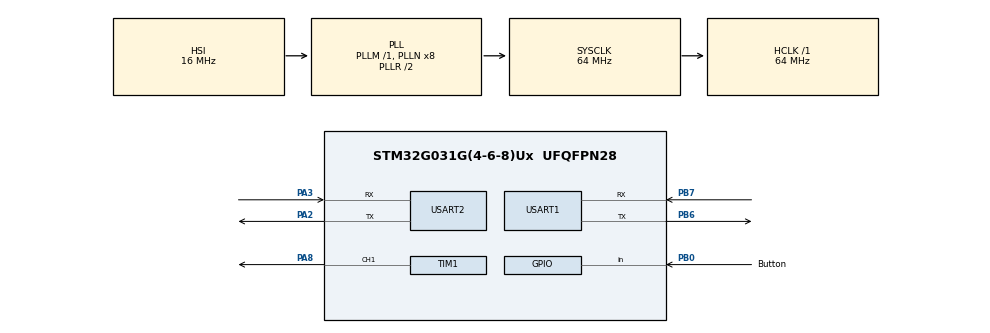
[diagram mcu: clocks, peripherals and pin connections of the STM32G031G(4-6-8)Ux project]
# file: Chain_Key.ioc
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Dma.Request0=USART1_RX
Dma.Request1=USART1_TX
Dma.Request2=USART2_RX
Dma.Request3=USART2_TX
Dma.Request4=TIM1_CH1
Dma.TIM1_CH1.4.Direction=DMA_MEMORY_TO_PERIPH
Dma.TIM1_CH1.4.EventEnable=DISABLE
Dma.TIM1_CH1.4.Instance=DMA1_Channel5
Dma.TIM1_CH1.4.MemDataAlignment=DMA_MDATAALIGN_BYTE
Dma.TIM1_CH1.4.MemInc=DMA_MINC_ENABLE
Dma.TIM1_CH1.4.Mode=DMA_NORMAL
Dma.TIM1_CH1.4.PeriphDataAlignment=DMA_PDATAALIGN_HALFWORD
Dma.TIM1_CH1.4.PeriphInc=DMA_PINC_DISABLE
Dma.TIM1_CH1.4.Polarity=HAL_DMAMUX_REQ_GEN_RISING
Dma.TIM1_CH1.4.Priority=DMA_PRIORITY_LOW
Dma.TIM1_CH1.4.RequestNumber=1
Dma.TIM1_CH1.4.SignalID=NONE
Dma.TIM1_CH1.4.SyncEnable=DISABLE
Dma.TIM1_CH1.4.SyncPolarity=HAL_DMAMUX_SYNC_NO_EVENT
Dma.TIM1_CH1.4.SyncRequestNumber=1
Dma.TIM1_CH1.4.SyncSignalID=NONE
Dma.USART1_RX.0.Direction=DMA_PERIPH_TO_MEMORY
Dma.USART1_RX.0.EventEnable=DISABLE
Dma.USART1_RX.0.Instance=DMA1_Channel1
Dma.USART1_RX.0.MemDataAlignment=DMA_MDATAALIGN_BYTE
Dma.USART1_RX.0.MemInc=DMA_MINC_ENABLE
Dma.USART1_RX.0.Mode=DMA_NORMAL
Dma.USART1_RX.0.PeriphDataAlignment=DMA_PDATAALIGN_BYTE
Dma.USART1_RX.0.PeriphInc=DMA_PINC_DISABLE
Dma.USART1_RX.0.Polarity=HAL_DMAMUX_REQ_GEN_RISING
Dma.USART1_RX.0.Priority=DMA_PRIORITY_LOW
Dma.USART1_RX.0.RequestNumber=1
Dma.USART1_RX.0.SignalID=NONE
Dma.USART1_RX.0.SyncEnable=DISABLE
Dma.USART1_RX.0.SyncPolarity=HAL_DMAMUX_SYNC_NO_EVENT
Dma.USART1_RX.0.SyncRequestNumber=1
Dma.USART1_RX.0.SyncSignalID=NONE
Dma.USART1_TX.1.Direction=DMA_MEMORY_TO_PERIPH
Dma.USART1_TX.1.EventEnable=DISABLE
Dma.USART1_TX.1.Instance=DMA1_Channel2
Dma.USART1_TX.1.MemDataAlignment=DMA_MDATAALIGN_BYTE
Dma.USART1_TX.1.MemInc=DMA_MINC_ENABLE
Dma.USART1_TX.1.Mode=DMA_NORMAL
Dma.USART1_TX.1.PeriphDataAlignment=DMA_PDATAALIGN_BYTE
Dma.USART1_TX.1.PeriphInc=DMA_PINC_DISABLE
Dma.USART1_TX.1.Polarity=HAL_DMAMUX_REQ_GEN_RISING
Dma.USART1_TX.1.Priority=DMA_PRIORITY_LOW
Dma.USART1_TX.1.RequestNumber=1
Dma.USART1_TX.1.SignalID=NONE
Dma.USART1_TX.1.SyncEnable=DISABLE
Dma.USART1_TX.1.SyncPolarity=HAL_DMAMUX_SYNC_NO_EVENT
Dma.USART1_TX.1.SyncRequestNumber=1
Dma.USART1_TX.1.SyncSignalID=NONE
Dma.USART2_RX.2.Direction=DMA_PERIPH_TO_MEMORY
Dma.USART2_RX.2.EventEnable=DISABLE
Dma.USART2_RX.2.Instance=DMA1_Channel3
Dma.USART2_RX.2.MemDataAlignment=DMA_MDATAALIGN_BYTE
Dma.USART2_RX.2.MemInc=DMA_MINC_ENABLE
Dma.USART2_RX.2.Mode=DMA_NORMAL
Dma.USART2_RX.2.PeriphDataAlignment=DMA_PDATAALIGN_BYTE
Dma.USART2_RX.2.PeriphInc=DMA_PINC_DISABLE
Dma.USART2_RX.2.Polarity=HAL_DMAMUX_REQ_GEN_RISING
Dma.USART2_RX.2.Priority=DMA_PRIORITY_LOW
Dma.USART2_RX.2.RequestNumber=1
Dma.USART2_RX.2.SignalID=NONE
Dma.USART2_RX.2.SyncEnable=DISABLE
Dma.USART2_RX.2.SyncPolarity=HAL_DMAMUX_SYNC_NO_EVENT
Dma.USART2_RX.2.SyncRequestNumber=1
Dma.USART2_RX.2.SyncSignalID=NONE
Dma.USART2_TX.3.Direction=DMA_MEMORY_TO_PERIPH
Dma.USART2_TX.3.EventEnable=DISABLE
Dma.USART2_TX.3.Instance=DMA1_Channel4
Dma.USART2_TX.3.MemDataAlignment=DMA_MDATAALIGN_BYTE
Dma.USART2_TX.3.MemInc=DMA_MINC_ENABLE
Dma.USART2_TX.3.Mode=DMA_NORMAL
Dma.USART2_TX.3.PeriphDataAlignment=DMA_PDATAALIGN_BYTE
Dma.USART2_TX.3.PeriphInc=DMA_PINC_DISABLE
Dma.USART2_TX.3.Polarity=HAL_DMAMUX_REQ_GEN_RISING
Dma.USART2_TX.3.Priority=DMA_PRIORITY_LOW
Dma.USART2_TX.3.RequestNumber=1
Dma.USART2_TX.3.SignalID=NONE
Dma.USART2_TX.3.SyncEnable=DISABLE
Dma.USART2_TX.3.SyncPolarity=HAL_DMAMUX_SYNC_NO_EVENT
Dma.USART2_TX.3.SyncRequestNumber=1
Dma.USART2_TX.3.SyncSignalID=NONE
IWDG.Prescaler=IWDG_PRESCALER_16
Mcu.Family=STM32G0
Mcu.Name=STM32G031G(4-6-8)Ux
Mcu.Package=UFQFPN28
NVIC.DMA1_Ch4_5_DMAMUX1_OVR_IRQn=true\:1\:0\:true\:false\:true\:false\:true\:true
NVIC.DMA1_Channel1_IRQn=true\:1\:0\:true\:false\:true\:false\:true\:true
NVIC.DMA1_Channel2_3_IRQn=true\:1\:0\:true\:false\:true\:false\:true\:true
NVIC.FLASH_IRQn=true\:1\:0\:true\:false\:true\:true\:true\:true
NVIC.TIM14_IRQn=true\:1\:0\:true\:false\:true\:true\:true\:true
NVIC.TIM16_IRQn=true\:1\:0\:true\:false\:true\:true\:true\:true
NVIC.TIM17_IRQn=true\:1\:0\:true\:false\:true\:true\:true\:true
NVIC.USART1_IRQn=true\:0\:0\:false\:false\:true\:false\:true\:true
NVIC.USART2_IRQn=true\:0\:0\:false\:false\:true\:false\:true\:true
PA2.GPIO_PuPd=GPIO_PULLUP
PA2.GPIO_Speed=GPIO_SPEED_FREQ_HIGH
PA2.Mode=Asynchronous
PA2.PinState=GPIO_PIN_RESET
PA2.Signal=USART2_TX
PA3.GPIO_PuPd=GPIO_PULLUP
PA3.GPIO_Speed=GPIO_SPEED_FREQ_HIGH
PA3.Mode=Asynchronous
PA3.PinState=GPIO_PIN_RESET
PA3.Signal=USART2_RX
PA8.Signal=S_TIM1_CH1
PB0.GPIO_Label=Button
PB0.GPIO_PuPd=GPIO_PULLUP
PB0.Signal=GPIO_Input
PB6.GPIO_PuPd=GPIO_PULLUP
PB6.GPIO_Speed=GPIO_SPEED_FREQ_HIGH
PB6.Mode=Asynchronous
PB6.Signal=USART1_TX
PB7.GPIO_PuPd=GPIO_PULLUP
PB7.GPIO_Speed=GPIO_SPEED_FREQ_HIGH
PB7.Mode=Asynchronous
PB7.Signal=USART1_RX
ProjectManager.HeapSize=0x200
ProjectManager.StackSize=0x400
ProjectManager.TargetToolchain=STM32CubeIDE
RCC.ADCFreq_Value=64000000
RCC.AHBFreq_Value=64000000
RCC.CortexFreq_Value=64000000
RCC.EXTERNAL_CLOCK_VALUE=12288000
RCC.HCLKFreq_Value=64000000
RCC.HSE_VALUE=8000000
RCC.HSI_VALUE=16000000
RCC.LSE_VALUE=32768
RCC.PLLQ=RCC_PLLQ_DIV4
RCC.SYSCLKFreq_VALUE=64000000
RCC.SYSCLKSource=RCC_SYSCLKSOURCE_PLLCLK
RCC.VCOOutputFreq_Value=128000000
SH.S_TIM1_CH1.0=TIM1_CH1,PWM Generation1 CH1
TIM1.Channel-PWM\ Generation1\ CH1=TIM_CHANNEL_1
TIM1.Period=79
TIM14.AutoReloadPreload=TIM_AUTORELOAD_PRELOAD_ENABLE
TIM14.Period=1699
TIM14.Prescaler=6399
TIM16.Period=29999
TIM16.Prescaler=6399
TIM17.Period=9999
TIM17.Prescaler=6399
USART1.VirtualMode-Asynchronous=VM_ASYNC
USART2.VirtualMode-Asynchronous=VM_ASYNC
VP_IWDG_VS_IWDG.Mode=IWDG_Activate
VP_TIM14_VS_ClockSourceINT.Mode=Enable_Timer
VP_TIM16_VS_ClockSourceINT.Mode=Enable_Timer
VP_TIM17_VS_ClockSourceINT.Mode=Enable_Timer
VP_TIM1_VS_ClockSourceINT.Mode=Internal
board=custom

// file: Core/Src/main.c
/* USER CODE BEGIN Header */
/**
 ******************************************************************************
 * @file           : main.c
 * @brief          : Main program body
 ******************************************************************************
 * @attention
 *
 * Copyright (c) 2024 STMicroelectronics.
 * All rights reserved.
 *
 * This software is licensed under terms that can be found in the LICENSE file
 * in the root directory of this software component.
 * If no LICENSE file comes with this software, it is provided AS-IS.
 *
 ******************************************************************************
 */
/* USER CODE END Header */
#include "main.h"
#include "dma.h"
#include "iwdg.h"
#include "tim.h"
#include "usart.h"
#include "gpio.h"

/* USER CODE BEGIN Includes */
#include "base_function.h"
#include "key_function.h"
#include "RGB.h"
#include "myflash.h"
#include "user_button.h"
/* USER CODE END Includes */

/* USER CODE BEGIN PV */
// DMA receive buffers
__IO uint8_t g_uart_in_rx_buf[UART_BUFFER_SIZE][BUFFER_SIZE * 2];   // uart_in receive buffer for DMA
__IO uint8_t g_uart_out_rx_buf[UART_BUFFER_SIZE][BUFFER_SIZE * 2];  // uart_out receive buffer for DMA

// Transmission status for UART
__IO uint8_t g_uart_in_rx_index  = 0;  // Index for UART input (receiving) buffer position
__IO uint8_t g_uart_out_rx_index = 0;  // Index for UART output (receiving) buffer position

// Transmission complete flags for UART
__IO uint8_t g_uart_in_transmit_complete  = 1;  // Flag indicating if uart_in transmission is complete (1: complete)
__IO uint8_t g_uart_out_transmit_complete = 1;  // Flag indicating if uart_out transmission is complete (1: complete)

// Command buffer and related variables
__IO uint8_t g_cmd_buf[BUFFER_SIZE] = {0};                    // Command buffer initialized to zero
__IO uint8_t g_cmd_size             = 0;                      // Size of the command currently in the buffer
__IO uint8_t g_cmd_status           = CMD_SPACE_IDLE_STATUS;  // Status of the command processing

// Device status variables
__IO uint8_t g_tail_status        = CHAIN_TAIL_DEVICE;  // Status of the tail device in the chain
__IO uint8_t g_heart_beat_record  = 0;                  // Heartbeat record for monitoring device status
__IO uint8_t g_bootloader_version = 0;                  // Version of the bootloader
__IO uint8_t g_firmware_version   = SOFTWARE_VERSION;   // Version of the firmware

// Device type information
__IO uint16_t g_device_type =
    (uint8_t)((PRODUCT_TYPE_HIGH << 8) | PRODUCT_TYPE_LOW);  // Combined product type from high and low bytes
__IO uint8_t g_light = 0;                                    // Light status or value

__IO static uint32_t s_last_press_time = 0;  // Store the last press time in milliseconds

__IO static uint8_t s_key_flag = 0;

__IO uint8_t g_uid[12] = {0};  // Unique identifier

/* USER CODE END PV */

void SystemClock_Config(void);

/* USER CODE BEGIN 0 */
/**
 * @brief Set the Interrupt Vector Table for the application in SRAM.
 * @param None
 * @retval None
 */
void iap_set(void)
{
    uint8_t i;                                     // Loop index
    uint32_t *pVecTab = (uint32_t *)(0x20000000);  // Pointer to the vector table in SRAM

    // Copy the interrupt vector table from the application address to SRAM
    for (i = 0; i < 48; i++) {
        // Copy each vector entry to the SRAM vector table
        *(pVecTab++) = *(__IO uint32_t *)(APPLICATION_ADDRESS + (i << 2));
    }

    // Enable the SYSCFG peripheral clock
    __HAL_RCC_SYSCFG_CLK_ENABLE();

    // Remap the memory to use SRAM for the vector table
    __HAL_SYSCFG_REMAPMEMORY_SRAM();
}

/**
 * @brief Initialize the chain device settings.
 * @param None
 * @retval None
 */
void chain_init(void)
{
    // Get the version of the bootloader
    g_bootloader_version = get_bootloader_version();

    // Check if the RGB light setting is set to maximum (0xFF)
    if (get_rgb_light() == 0xFF) {
        // Set the light to a base color if it is maximum
        g_light = RGB_LIGHT_BASE;
        set_rgb_light(g_light);
    } else {
        // Otherwise, get the current RGB light setting
        g_light = get_rgb_light();
    }
}

void read_uid(void)
{
    uint32_t uid0 = HAL_GetUIDw0();
    uint32_t uid1 = HAL_GetUIDw1();
    uint32_t uid2 = HAL_GetUIDw2();

    memcpy(&g_uid[0], &uid0, 4);
    memcpy(&g_uid[4], &uid1, 4);
    memcpy(&g_uid[8], &uid2, 4);
}

/* USER CODE END 0 */

int main(void)
{
    /* USER CODE BEGIN 1 */
    iap_set();
    chain_init();
    read_uid();
    /* USER CODE END 1 */

    /* MCU Configuration--------------------------------------------------------*/

    /* Reset of all peripherals, Initializes the Flash interface and the Systick. */
    HAL_Init();

    /* Configure the system clock */
    SystemClock_Config();

    /* Initialize all configured peripherals */
    MX_GPIO_Init();
    MX_DMA_Init();
    MX_USART1_UART_Init();
    MX_USART2_UART_Init();
    MX_IWDG_Init();
    MX_TIM14_Init();
    MX_TIM1_Init();
    MX_TIM16_Init();
    MX_TIM17_Init();
    /* USER CODE BEGIN 2 */
    rgb_init();
    user_button_init();
    HAL_Delay(1);
    LL_TIM_ClearFlag_UPDATE(TIM14);  // Clear update TIM14
    LL_TIM_EnableIT_UPDATE(TIM14);   // ENABLE TIM14
    LL_TIM_EnableCounter(TIM14);     // ENABLE TIM14
    HAL_Delay(1);
    LL_TIM_ClearFlag_UPDATE(TIM17);  // Clear update TIM17
    LL_TIM_EnableIT_UPDATE(TIM17);   // ENABLE TIM17
    LL_TIM_EnableCounter(TIM17);     // ENABLE TIM17
    HAL_Delay(1);
    LL_TIM_ClearFlag_UPDATE(TIM16);  // Clear update TIM16
    LL_TIM_EnableIT_UPDATE(TIM16);   // ENABLE TIM16
    LL_TIM_EnableCounter(TIM16);     // ENABLE TIM16
    HAL_Delay(1);

    /* USER CODE END 2 */

    /* Infinite loop */
    /* USER CODE BEGIN WHILE */
    while (1) {
        if (g_cmd_status == CMD_SPACE_BUSY_STATUS) {
            switch (g_cmd_buf[0]) {
                case CHAIN_SET_RGB_VALUE:
                    chain_set_rgb_value((uint8_t *)(g_cmd_buf + 1), (g_cmd_size - 1));
                    break;
                case CHAIN_GET_RGB_VALUE:
                    chain_get_rgb_value((uint8_t *)(g_cmd_buf + 1), (g_cmd_size - 1));
                    break;
                case CHAIN_SET_RGB_LIGHT:
                    chain_set_light_value(g_cmd_buf[1], g_cmd_buf[2]);
                    break;
                case CHAIN_GET_RGB_LIGHT:
                    chain_get_light_value();
                    break;
                case CHAIN_BUTTON_GET_STATUS:
                    user_get_button_status();
                    break;
                case CHAIN_BUTTON_SET_TRIGGER_TIMEOUT:
                    user_set_button_trigger_timeout((uint8_t *)(g_cmd_buf + 1), g_cmd_size - 1);
                    break;
                case CHAIN_BUTTON_GET_TRIGGER_TIMEOUT:
                    user_get_button_trigger_timeout();
                    break;
                case CHAIN_BUTTON_SET_MODE:
                    user_set_button_mode(g_cmd_buf[1]);
                    break;
                case CHAIN_BUTTON_GET_MODE:
                    user_get_button_mode();
                    break;
                case CHAIN_GET_UID:
                    chain_get_uid_handle(g_cmd_buf[1]);
                    break;
                case CHAIN_GET_BOOTLOADER_VERSION:
                    chain_get_bootloader_version_handle();
                    break;
                case CHAIN_GET_VERSION_DEVICE:
                    chain_get_firmware_version_handle();
                    break;
                case CHAIN_GET_DEVICE_TYPE:
                    chain_get_device_type_handle();
                    break;
                case CHAIN_IAP_UPDATE:
                    chain_iap_update_handle(g_cmd_buf[1]);
                    break;
                default:
                    break;
            }
            g_cmd_status = CMD_SPACE_IDLE_STATUS;
        }
        /* USER CODE END WHILE */

        /* USER CODE BEGIN 3 */
        user_button_scan();
        rgb_update();
        LL_IWDG_ReloadCounter(IWDG);
    }
    /* USER CODE END 3 */
}

void SystemClock_Config(void)
{
    RCC_OscInitTypeDef RCC_OscInitStruct = {0};
    RCC_ClkInitTypeDef RCC_ClkInitStruct = {0};

    /** Configure the main internal regulator output voltage
     */
    HAL_PWREx_ControlVoltageScaling(PWR_REGULATOR_VOLTAGE_SCALE1);

    /** Initializes the RCC Oscillators according to the specified parameters
     * in the RCC_OscInitTypeDef structure.
     */
    RCC_OscInitStruct.OscillatorType      = RCC_OSCILLATORTYPE_HSI | RCC_OSCILLATORTYPE_LSI;
    RCC_OscInitStruct.HSIState            = RCC_HSI_ON;
    RCC_OscInitStruct.HSIDiv              = RCC_HSI_DIV1;
    RCC_OscInitStruct.HSICalibrationValue = RCC_HSICALIBRATION_DEFAULT;
    RCC_OscInitStruct.LSIState            = RCC_LSI_ON;
    RCC_OscInitStruct.PLL.PLLState        = RCC_PLL_ON;
    RCC_OscInitStruct.PLL.PLLSource       = RCC_PLLSOURCE_HSI;
    RCC_OscInitStruct.PLL.PLLM            = RCC_PLLM_DIV1;
    RCC_OscInitStruct.PLL.PLLN            = 8;
    RCC_OscInitStruct.PLL.PLLP            = RCC_PLLP_DIV2;
    RCC_OscInitStruct.PLL.PLLQ            = RCC_PLLQ_DIV4;
    RCC_OscInitStruct.PLL.PLLR            = RCC_PLLR_DIV2;
    if (HAL_RCC_OscConfig(&RCC_OscInitStruct) != HAL_OK) {
        Error_Handler();
    }

    /** Initializes the CPU, AHB and APB buses clocks
     */
    RCC_ClkInitStruct.ClockType      = RCC_CLOCKTYPE_HCLK | RCC_CLOCKTYPE_SYSCLK | RCC_CLOCKTYPE_PCLK1;
    RCC_ClkInitStruct.SYSCLKSource   = RCC_SYSCLKSOURCE_PLLCLK;
    RCC_ClkInitStruct.AHBCLKDivider  = RCC_SYSCLK_DIV1;
    RCC_ClkInitStruct.APB1CLKDivider = RCC_HCLK_DIV1;

    if (HAL_RCC_ClockConfig(&RCC_ClkInitStruct, FLASH_LATENCY_2) != HAL_OK) {
        Error_Handler();
    }
}

void Error_Handler(void)
{
    __disable_irq();
    while (1) {
    }
}

#ifdef USE_FULL_ASSERT
/**
 * @brief  Reports the name of the source file and the source line number
 *         where the assert_param error has occurred.
 * @param  file: pointer to the source file name
 * @param  line: assert_param error line source number
 * @retval None
 */
void assert_failed(uint8_t *file, uint32_t line)
{
    /* USER CODE BEGIN 6 */
    /* User can add his own implementation to report the file name and line
       number,
       ex: printf("Wrong parameters value: file %s on line %d\r\n", file, line) */
    /* USER CODE END 6 */
}
#endif /* USE_FULL_ASSERT */
